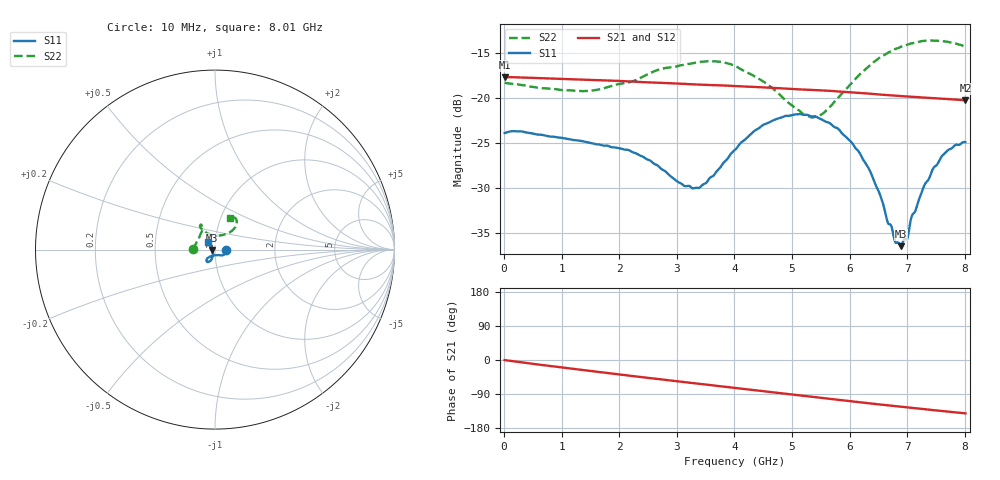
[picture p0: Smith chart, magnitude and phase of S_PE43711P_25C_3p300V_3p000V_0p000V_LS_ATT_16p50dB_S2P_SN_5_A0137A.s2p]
! Device ID: PE43711P
! File Path: z:\PE43711P\CHAR_NOM_04282014\AMB\3p300\LS_ATT_16p50dB\PE43711P_AMB_3p300V_3p000V_0p000V_LS_ATT_16p50dB_S2P_SN_5_A0137A.s2p
! Serial: 5
! Lot: A0137A
! Temp: 25C
! VDD: 3.300
! VSS: 0.000
! Control_Hi: 3.000
! Control_Lo: 0.000
! Attenuation Step: 16.50dB
! Port 1: RF1
! Port 2: RF2
! ThroughPath:1-2
! IDD: 0.0001270817
! ISS: -9.71e-008
#  Hz  S  RI  R  50
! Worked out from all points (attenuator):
!   801 points, 10 MHz to 8.01 GHz, reference 50 ohm
!   highest |S21| = -17.67 dB at 10 MHz (marker M1); lowest = -20.2 dB at 8.01 GHz (marker M2)
!   lowest |S11| = -36.4 dB at 6.89 GHz (marker M3), VSWR 1.03, Z = 48.5 - j0.296 ohm
!   |S11| at or under -10 dB: start of sweep to end of sweep
!   |S22| runs from -22.2 to -13.6 dB; largest |S21 - S12| = 0.00033
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1e7  0.064 3.17e-05  0.1308 -0.000591  0.131 -0.000653  -0.1218 0.000922
1.35e9  0.0506 -0.0279  0.114 -0.0558  0.1141 -0.0558  -0.0956 0.0531
2.16e9  0.0396 -0.0331  0.0934 -0.0814  0.0935 -0.0814  -0.0761 0.0955
2.68e9  0.0278 -0.0314  0.0778 -0.0936  0.0778 -0.0936  -0.0721 0.1245
3.11e9  0.0117 -0.0308  0.0636 -0.1018  0.0637 -0.1019  -0.0737 0.1341
3.37e9  1.54e-05 -0.0318  0.0549 -0.1055  0.055 -0.1055  -0.0761 0.1384
4.01e9  -0.0316 -0.0408  0.0326 -0.1121  0.0325 -0.1122  -0.0829 0.1259
4.34e9  -0.0432 -0.0493  0.0209 -0.1135  0.0209 -0.1135  -0.0711 0.1119
4.68e9  -0.0475 -0.0586  0.00879 -0.1135  0.00879 -0.1136  -0.054 0.0983
5.35e9  -0.0397 -0.0684  -0.0137 -0.1102  -0.0137 -0.1103  0.00457 0.0779
5.54e9  -0.0338 -0.0675  -0.0199 -0.1085  -0.0199 -0.1085  0.0258 0.0782
5.79e9  -0.026 -0.0628  -0.0279 -0.1054  -0.028 -0.1054  0.0532 0.0844
6.16e9  -0.0164 -0.0477  -0.0387 -0.0997  -0.0388 -0.0997  0.0887 0.1003
6.38e9  -0.0127 -0.0355  -0.0446 -0.0959  -0.0447 -0.0959  0.1046 0.1139
6.68e9  -0.0127 -0.0155  -0.0517 -0.0901  -0.0516 -0.0902  0.1174 0.1362
6.8e9  -0.0133 -0.00845  -0.0543 -0.0877  -0.0543 -0.0877  0.1201 0.1445
6.89e9  -0.0148 -0.00305  -0.0562 -0.0859  -0.0562 -0.086  0.1214 0.15
6.99e9  -0.0162 0.00273  -0.0583 -0.0839  -0.0582 -0.084  0.1215 0.1555
7.09e9  -0.0205 0.00941  -0.0604 -0.0819  -0.0603 -0.0819  0.1201 0.162
7.46e9  -0.0301 0.028  -0.0673 -0.0738  -0.0673 -0.0739  0.1082 0.1783
7.69e9  -0.0365 0.0355  -0.0709 -0.0687  -0.071 -0.0687  0.0965 0.1819
8.01e9  -0.0408 0.0399  -0.0755 -0.0616  -0.0758 -0.0613  0.0826 0.1746
